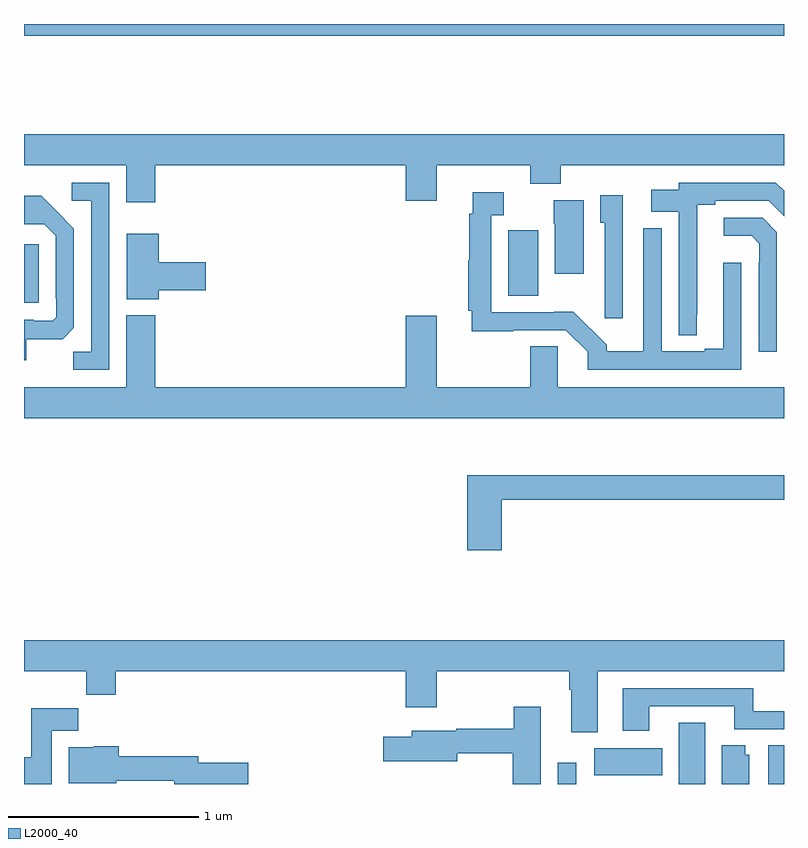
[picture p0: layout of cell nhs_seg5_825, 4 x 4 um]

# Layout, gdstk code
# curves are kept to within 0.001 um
import gdstk
lib = gdstk.Library(unit=1e-6, precision=1e-09)
def R(c, l, rs):  # rectangles x0, y0, x1, y1
    for r in rs: c.add(gdstk.rectangle(r[:2], r[2:], *l))
def P(c, l, *ps):  # polygons
    for p in ps: c.add(gdstk.Polygon(p, *l))
L2000_40 = (2000, 40)

nhs_seg5_825 = lib.new_cell('nhs_seg5_825')
R(nhs_seg5_825, L2000_40, [(165.81,890.799,165.906,890.911), (166.445,890.799,166.585,891.122), (166.916,890.799,167,891.002), (166.002,890.846,166.36,890.986), (163,893.331,163.077,893.641), (165.548,893.368,165.706,893.713), (163,894.736,167,894.799)])
P(nhs_seg5_825, L2000_40, [(163.691,894.056),(165.008,894.056),(165.008,893.868),(165.172,893.868),(165.172,894.056),(165.664,894.056),(165.664,893.957),(165.824,893.957),(165.824,894.056),(167,894.056),(167,894.22),(163,894.22),(163,894.056),(163.538,894.056),(163.538,893.862),(163.691,893.862)],
  [(166.542,893.269),(166.543,893.848),(166.639,893.848),(166.639,893.868),(166.92,893.868),(167,893.788),(167,893.921),(166.957,893.964),(166.446,893.964),(166.446,893.926),(166.302,893.926),(166.302,893.81),(166.446,893.81),(166.446,893.161),(166.542,893.161)],
  [(163.449,893.964),(163.251,893.964),(163.251,893.868),(163.353,893.868),(163.353,893.075),(163.258,893.075),(163.258,892.98),(163.449,892.98)],
  [(166.776,893.542),(166.679,893.542),(166.679,893.091),(166.583,893.091),(166.583,893.076),(166.356,893.076),(166.356,893.725),(166.26,893.725),(166.26,893.077),(166.066,893.077),(166.066,893.111),(165.892,893.285),(165.791,893.285),(165.791,893.283),(165.459,893.283),(165.459,893.793),(165.526,893.793),(165.526,893.914),(165.362,893.914),(165.362,893.801),(165.343,893.801),(165.343,893.556),(165.339,893.556),(165.339,893.29),(165.356,893.29),(165.356,893.182),(165.575,893.182),(165.575,893.187),(165.852,893.187),(165.966,893.074),(165.966,892.98),(166.776,892.98)],
  [(166.152,893.899),(166.034,893.899),(166.034,893.754),(166.056,893.754),(166.056,893.25),(166.152,893.25)],
  [(163.012,893.141),(163.204,893.141),(163.263,893.2),(163.263,893.722),(163.091,893.896),(163,893.896),(163,893.745),(163.107,893.745),(163.167,893.685),(163.167,893.356),(163.17,893.356),(163.17,893.256),(163.152,893.238),(163.052,893.238),(163.052,893.242),(163,893.242),(163,893.03),(163.012,893.03)],
  [(165.946,893.872),(165.788,893.872),(165.788,893.748),(165.794,893.748),(165.794,893.484),(165.946,893.484)],
  [(166.962,893.703),(166.887,893.778),(166.683,893.778),(166.683,893.684),(166.829,893.684),(166.869,893.643),(166.869,893.543),(166.866,893.543),(166.866,893.073),(166.962,893.073)],
  [(163.708,893.399),(163.957,893.399),(163.957,893.546),(163.708,893.546),(163.708,893.695),(163.541,893.695),(163.541,893.351),(163.708,893.351)],
  [(167,892.888),(165.81,892.888),(165.81,893.102),(165.664,893.102),(165.664,892.888),(165.172,892.888),(165.172,893.263),(165.008,893.263),(165.008,892.888),(163.691,892.888),(163.691,893.266),(163.538,893.266),(163.538,892.888),(163,892.888),(163,892.724),(167,892.724)],
  [(165.515,892.294),(167,892.294),(167,892.423),(165.332,892.423),(165.332,892.029),(165.515,892.029)],
  [(166.021,891.392),(167,891.392),(167,891.556),(163,891.556),(163,891.392),(163.327,891.392),(163.327,891.268),(163.484,891.268),(163.484,891.392),(165.008,891.392),(165.008,891.204),(165.172,891.204),(165.172,891.392),(165.869,891.392),(165.869,891.296),(165.881,891.296),(165.881,891.072),(166.021,891.072)],
  [(166.291,891.207),(166.739,891.207),(166.739,891.087),(167,891.087),(167,891.183),(166.838,891.183),(166.838,891.303),(166.151,891.303),(166.151,891.078),(166.291,891.078)],
  [(165.721,891.205),(165.577,891.205),(165.577,891.091),(165.276,891.091),(165.276,891.078),(165.041,891.078),(165.041,891.049),(164.892,891.049),(164.892,890.92),(165.28,890.92),(165.28,890.962),(165.572,890.962),(165.572,890.799),(165.721,890.799)],
  [(163.147,891.08),(163.286,891.08),(163.286,891.199),(163.037,891.199),(163.037,890.94),(163,890.94),(163,890.799),(163.147,890.799)],
  [(166.816,890.952),(166.795,890.952),(166.795,891.002),(166.673,891.002),(166.673,890.799),(166.816,890.799)],
  [(164.179,890.91),(163.918,890.91),(163.918,890.944),(163.499,890.944),(163.499,890.998),(163.368,890.998),(163.368,890.992),(163.235,890.992),(163.235,890.804),(163.486,890.804),(163.486,890.815),(163.79,890.815),(163.79,890.799),(164.179,890.799)])

lib.write_gds('nhs_seg5_825.gds')
